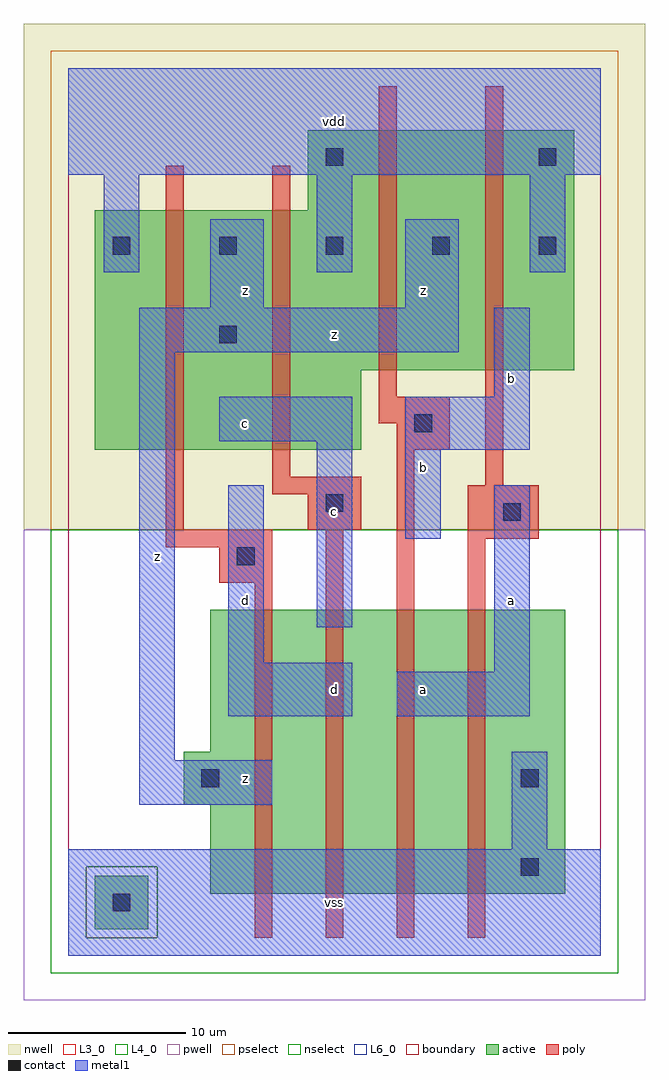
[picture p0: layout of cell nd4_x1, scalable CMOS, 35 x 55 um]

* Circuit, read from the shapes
.subckt nd4_x1 a b c d vdd vss z
M1 n1 d z vss nfet w=16u l=1u
M2 n2 c n1 vss nfet w=16u l=1u
M3 n3 b n2 vss nfet w=16u l=1u
M4 vss a n3 vss nfet w=16u l=1u
M5 z d vdd n4 pfet w=13.5u l=1u
M6 vdd c z n4 pfet w=13.5u l=1u
M7 z b vdd n4 pfet w=13.5u l=1u
M8 vdd a z n4 pfet w=13.5u l=1u
.ends

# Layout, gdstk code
import gdstk
lib = gdstk.Library(unit=1e-6, precision=1e-09)
def R(c, l, rs):  # rectangles x0, y0, x1, y1
    for r in rs: c.add(gdstk.rectangle(r[:2], r[2:], *l))
def A(c, l, x, y, w, h, nx, ny, dx, dy):  # array of equal rectangles
    R(c, l, [(x+i*dx, y+j*dy, x+i*dx+w, y+j*dy+h) for i in range(nx) for j in range(ny)])
L3_0 = (3, 0)
L4_0 = (4, 0)
L6_0 = (6, 0)
contact = (25, 0)
pwell = (41, 0)
nwell = (42, 0)
active = (43, 0)
pselect = (44, 0)
nselect = (45, 0)
poly = (46, 0)
metal1 = (49, 0)
boundary = (63, 0)

nd4_x1 = lib.new_cell('nd4_x1')
R(nd4_x1, L3_0, [(8,3.5,28,8.5), (6.5,8.5,28,11.5), (8,11.5,28,19.5)])
R(nd4_x1, L4_0, [(1.5,28.5,16.5,33), (1.5,33,28.5,42), (13.5,42,28.5,46.5)])
R(nd4_x1, L6_0, [(1.5,1.5,4.5,4.5)])
A(nd4_x1, contact, 2.5, 39.5, 1, 1, 5, 1, 6, 0)
R(nd4_x1, contact, [(2.5,2.5,3.5,3.5), (25.5,4.5,26.5,5.5), (7.5,9.5,8.5,10.5), (25.5,9.5,26.5,10.5), (9.5,22,10.5,23), (24.5,24.5,25.5,25.5), (14.5,25,15.5,26), (19.5,29.5,20.5,30.5), (8.5,34.5,9.5,35.5), (14.5,44.5,15.5,45.5), (26.5,44.5,27.5,45.5)])
R(nd4_x1, pwell, [(-2.5,-2.5,32.5,24)])
R(nd4_x1, nwell, [(-2.5,24,32.5,52.5)])
R(nd4_x1, active, [(1.5,1.5,4.5,4.5), (8,3.5,28,8.5), (6.5,8.5,28,11.5), (8,11.5,28,19.5), (1.5,28.5,16.5,33), (1.5,33,28.5,42), (13.5,42,28.5,46.5)])
R(nd4_x1, pselect, [(1,1,5,5), (-1,24,31,51)])
R(nd4_x1, nselect, [(-1,-1,31,1), (-1,1,1,5), (5,1,31,5), (-1,5,31,24)])
R(nd4_x1, poly, [(10.5,1,11.5,21), (14.5,1,15.5,24), (18.5,1,19.5,28.5), (22.5,1,23.5,23.5), (8.5,21,11.5,23), (5.5,23,11.5,24), (22.5,23.5,26.5,26.5), (5.5,24,6.5,44.5), (13.5,24,16.5,26), (11.5,26,16.5,27), (23.5,26.5,24.5,49), (11.5,27,12.5,44.5), (18.5,28.5,21.5,30), (17.5,30,21.5,31.5), (17.5,31.5,18.5,49)])
R(nd4_x1, metal1, [(0,0,30,6), (0,0,30,6), (25,6,27,11.5), (25,6,27,11.5), (4,8.5,11.5,11), (4,8.5,11.5,11), (4,11,6,34), (4,11,6,34), (9,13.5,16,16.5), (9,13.5,16,16.5), (18.5,13.5,26,16), (18.5,13.5,26,16), (24,16,26,26.5), (24,16,26,26.5), (9,16.5,11,26.5), (9,16.5,11,26.5), (14,18.5,16,29), (14,18.5,16,29), (19,23.5,21,28.5), (19,23.5,21,28.5), (19,28.5,26,31.5), (19,28.5,26,31.5), (8.5,29,16,31.5), (8.5,29,16,31.5), (24,31.5,26,36.5), (24,31.5,26,36.5), (4,34,22,36.5), (4,34,22,36.5), (8,36.5,11,41.5), (8,36.5,11,41.5), (19,36.5,22,41.5), (19,36.5,22,41.5), (2,38.5,4,44), (2,38.5,4,44), (14,38.5,16,44), (14,38.5,16,44), (26,38.5,28,44), (26,38.5,28,44), (0,44,30,50), (0,44,30,50)])
R(nd4_x1, boundary, [(0,0,30,50)])
nd4_x1.add(gdstk.Label('z', (5,22.5), layer=49, texttype=0))
nd4_x1.add(gdstk.Label('z', (10,10), layer=49, texttype=0))
nd4_x1.add(gdstk.Label('d', (10,20), layer=49, texttype=0))
nd4_x1.add(gdstk.Label('c', (10,30), layer=49, texttype=0))
nd4_x1.add(gdstk.Label('z', (10,37.5), layer=49, texttype=0))
nd4_x1.add(gdstk.Label('vss', (15,3), layer=49, texttype=0))
nd4_x1.add(gdstk.Label('d', (15,15), layer=49, texttype=0))
nd4_x1.add(gdstk.Label('a', (20,15), layer=49, texttype=0))
nd4_x1.add(gdstk.Label('c', (15,25), layer=49, texttype=0))
nd4_x1.add(gdstk.Label('z', (15,35), layer=49, texttype=0))
nd4_x1.add(gdstk.Label('b', (20,27.5), layer=49, texttype=0))
nd4_x1.add(gdstk.Label('z', (20,37.5), layer=49, texttype=0))
nd4_x1.add(gdstk.Label('vdd', (15,47), layer=49, texttype=0))
nd4_x1.add(gdstk.Label('a', (25,20), layer=49, texttype=0))
nd4_x1.add(gdstk.Label('b', (25,32.5), layer=49, texttype=0))

lib.write_gds('nd4_x1.gds')
